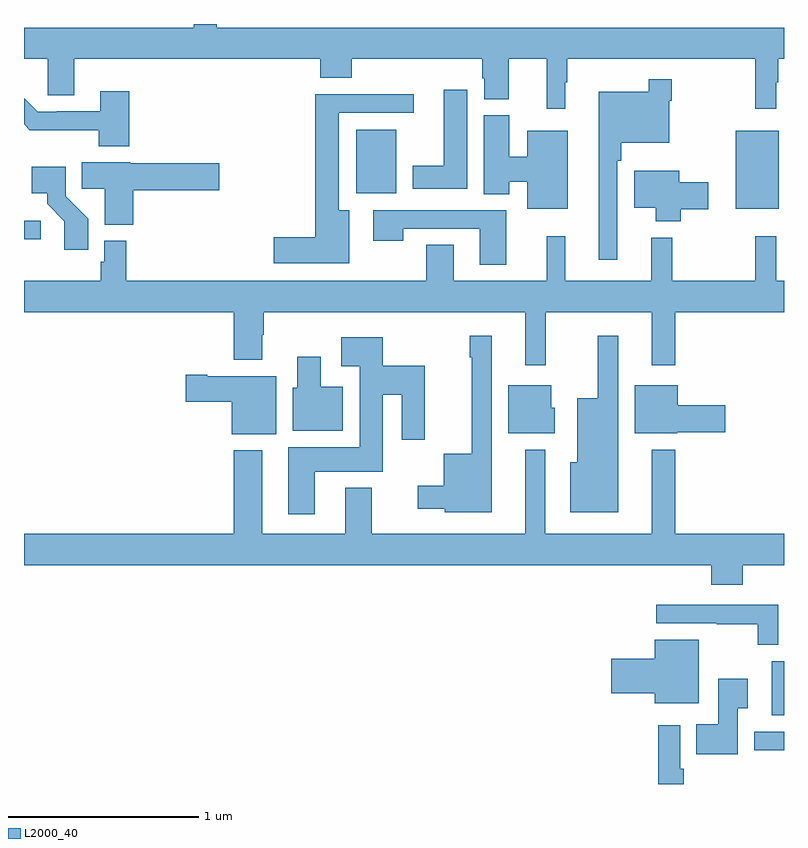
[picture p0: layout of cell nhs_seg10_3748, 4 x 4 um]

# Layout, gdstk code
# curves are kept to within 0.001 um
import gdstk
lib = gdstk.Library(unit=1e-6, precision=1e-09)
def R(c, l, rs):  # rectangles x0, y0, x1, y1
    for r in rs: c.add(gdstk.rectangle(r[:2], r[2:], *l))
def P(c, l, *ps):  # polygons
    for p in ps: c.add(gdstk.Polygon(p, *l))
L2000_40 = (2000, 40)

nhs_seg10_3748 = lib.new_cell('nhs_seg10_3748')
R(nhs_seg10_3748, L2000_40, [(318.843,1296.677,319,1296.774), (318.935,1296.863,319,1297.147), (315,1299.367,315.088,1299.465), (318.746,1299.527,318.973,1299.937), (316.748,1299.608,316.96,1299.943)])
P(nhs_seg10_3748, L2000_40, [(317.848,1300.193),(317.86,1300.193),(317.86,1300.316),(318.849,1300.316),(318.849,1300.053),(318.958,1300.053),(318.958,1300.193),(318.97,1300.193),(318.97,1300.316),(319,1300.316),(319,1300.48),(316.015,1300.48),(316.015,1300.5),(315.894,1300.5),(315.894,1300.48),(315,1300.48),(315,1300.316),(315.126,1300.316),(315.126,1300.126),(315.265,1300.126),(315.265,1300.316),(316.559,1300.316),(316.559,1300.217),(316.724,1300.217),(316.724,1300.316),(317.411,1300.316),(317.411,1300.215),(317.423,1300.215),(317.423,1300.105),(317.551,1300.105),(317.551,1300.316),(317.75,1300.316),(317.75,1300.053),(317.848,1300.053)],
  [(318.123,1299.779),(318.143,1299.779),(318.143,1299.875),(318.396,1299.875),(318.396,1300.097),(318.409,1300.097),(318.409,1300.21),(318.288,1300.21),(318.288,1300.144),(318.026,1300.144),(318.026,1299.258),(318.123,1299.258)],
  [(317.332,1300.153),(317.21,1300.153),(317.21,1299.754),(317.045,1299.754),(317.045,1299.632),(317.332,1299.632)],
  [(315.554,1300.147),(315.401,1300.147),(315.401,1300.041),(315.172,1300.041),(315.172,1300.038),(315.072,1300.038),(315,1300.11),(315,1299.972),(315.031,1299.941),(315.394,1299.942),(315.394,1299.857),(315.554,1299.857)],
  [(316.711,1299.52),(316.657,1299.52),(316.657,1300.032),(317.05,1300.032),(317.05,1300.13),(316.532,1300.13),(316.532,1299.377),(316.314,1299.377),(316.314,1299.242),(316.711,1299.242)],
  [(317.863,1299.937),(317.648,1299.937),(317.648,1299.801),(317.554,1299.801),(317.554,1300.02),(317.42,1300.02),(317.42,1299.604),(317.554,1299.604),(317.554,1299.671),(317.648,1299.671),(317.648,1299.527),(317.863,1299.527)],
  [(315.575,1299.625),(316.027,1299.625),(316.027,1299.767),(315.558,1299.767),(315.558,1299.772),(315.304,1299.772),(315.304,1299.634),(315.425,1299.634),(315.425,1299.443),(315.575,1299.443)],
  [(315.338,1299.474),(315.219,1299.593),(315.219,1299.748),(315.042,1299.748),(315.042,1299.608),(315.122,1299.608),(315.122,1299.553),(315.213,1299.463),(315.213,1299.312),(315.338,1299.312)],
  [(318.456,1299.526),(318.601,1299.526),(318.601,1299.668),(318.448,1299.668),(318.448,1299.727),(318.212,1299.727),(318.212,1299.533),(318.326,1299.533),(318.326,1299.461),(318.456,1299.461)],
  [(317.539,1299.519),(316.839,1299.519),(316.839,1299.36),(316.995,1299.36),(316.995,1299.423),(317.399,1299.423),(317.399,1299.234),(317.539,1299.234)],
  [(317.746,1298.984),(318.305,1298.984),(318.305,1298.703),(318.427,1298.703),(318.427,1298.984),(319,1298.984),(319,1299.148),(318.959,1299.148),(318.959,1299.382),(318.849,1299.382),(318.849,1299.148),(318.412,1299.148),(318.412,1299.376),(318.302,1299.376),(318.302,1299.148),(317.849,1299.148),(317.849,1299.382),(317.75,1299.382),(317.75,1299.148),(317.263,1299.148),(317.263,1299.338),(317.116,1299.338),(317.116,1299.148),(315.539,1299.148),(315.539,1299.358),(315.423,1299.358),(315.423,1299.249),(315.403,1299.249),(315.403,1299.148),(315,1299.148),(315,1298.984),(316.103,1298.984),(316.103,1298.732),(316.255,1298.732),(316.255,1298.864),(316.263,1298.864),(316.263,1298.984),(317.639,1298.984),(317.639,1298.703),(317.746,1298.703)],
  [(318.127,1298.86),(318.021,1298.86),(318.021,1298.53),(317.912,1298.53),(317.912,1298.194),(317.876,1298.194),(317.876,1297.931),(318.127,1297.931)],
  [(317.461,1298.86),(317.347,1298.86),(317.347,1298.747),(317.357,1298.747),(317.357,1298.239),(317.21,1298.239),(317.21,1298.071),(317.073,1298.071),(317.073,1297.949),(317.214,1297.949),(317.214,1297.931),(317.461,1297.931)],
  [(316.531,1298.144),(316.888,1298.144),(316.888,1298.549),(316.988,1298.549),(316.988,1298.313),(317.11,1298.313),(317.11,1298.701),(316.888,1298.701),(316.888,1298.851),(316.671,1298.851),(316.671,1298.699),(316.766,1298.699),(316.766,1298.272),(316.391,1298.272),(316.391,1297.92),(316.531,1297.92)],
  [(316.678,1298.59),(316.561,1298.59),(316.561,1298.749),(316.439,1298.749),(316.439,1298.586),(316.415,1298.586),(316.415,1298.36),(316.678,1298.36)],
  [(316.327,1298.647),(315.964,1298.647),(315.964,1298.655),(315.852,1298.655),(315.852,1298.513),(316.094,1298.513),(316.094,1298.342),(316.327,1298.342)],
  [(318.438,1298.351),(318.691,1298.351),(318.691,1298.493),(318.442,1298.493),(318.442,1298.599),(318.215,1298.599),(318.215,1298.345),(318.438,1298.345)],
  [(317.794,1298.481),(317.776,1298.481),(317.776,1298.599),(317.549,1298.599),(317.549,1298.345),(317.794,1298.345)],
  [(318.782,1297.652),(319,1297.652),(319,1297.816),(318.427,1297.816),(318.427,1298.26),(318.305,1298.26),(318.305,1297.816),(317.743,1297.816),(317.743,1298.26),(317.639,1298.26),(317.639,1297.816),(316.831,1297.816),(316.831,1298.059),(316.691,1298.059),(316.691,1297.816),(316.255,1297.816),(316.255,1298.257),(316.103,1298.257),(316.103,1297.816),(315,1297.816),(315,1297.652),(318.617,1297.652),(318.617,1297.55),(318.782,1297.55)],
  [(318.97,1297.443),(318.327,1297.443),(318.327,1297.347),(318.646,1297.347),(318.646,1297.342),(318.861,1297.342),(318.861,1297.232),(318.97,1297.232)],
  [(318.55,1297.258),(318.32,1297.258),(318.32,1297.16),(318.09,1297.16),(318.09,1296.977),(318.32,1296.977),(318.32,1296.926),(318.55,1296.926)],
  [(318.757,1296.898),(318.808,1296.898),(318.808,1297.054),(318.653,1297.054),(318.653,1296.814),(318.538,1296.814),(318.538,1296.656),(318.757,1296.656)],
  [(318.473,1296.58),(318.453,1296.58),(318.453,1296.808),(318.337,1296.808),(318.337,1296.5),(318.473,1296.5)])

lib.write_gds('nhs_seg10_3748.gds')
